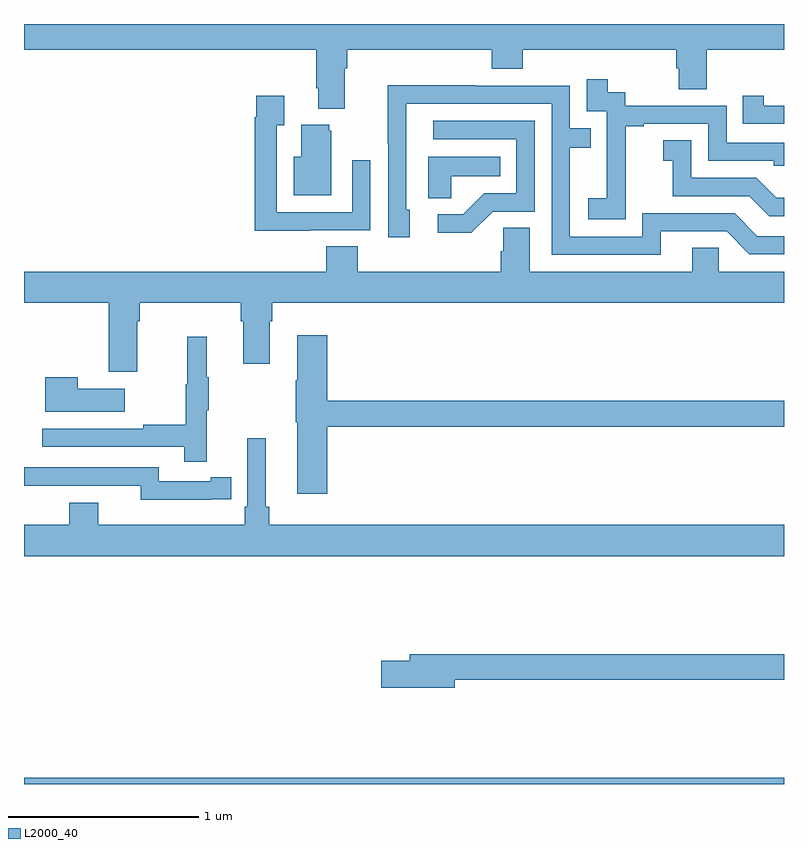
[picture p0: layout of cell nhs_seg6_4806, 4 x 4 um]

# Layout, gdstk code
import gdstk
lib = gdstk.Library(unit=1e-6, precision=1e-09)
def R(c, l, rs):  # rectangles x0, y0, x1, y1
    for r in rs: c.add(gdstk.rectangle(r[:2], r[2:], *l))
def P(c, l, *ps):  # polygons
    for p in ps: c.add(gdstk.Polygon(p, *l))
L2000_40 = (2000, 40)

nhs_seg6_4806 = lib.new_cell('nhs_seg6_4806')
R(nhs_seg6_4806, L2000_40, [(397,915.5,401,915.532)])
P(nhs_seg6_4806, L2000_40, [(398.689,919.268),(398.702,919.268),(398.702,919.364),(399.461,919.364),(399.461,919.265),(399.626,919.265),(399.626,919.364),(400.433,919.364),(400.433,919.266),(400.445,919.266),(400.445,919.156),(400.593,919.156),(400.593,919.364),(401,919.364),(401,919.5),(397,919.5),(397,919.364),(398.537,919.364),(398.537,919.162),(398.549,919.162),(398.549,919.055),(398.689,919.055)],
  [(400.167,918.679),(400.166,918.679),(400.166,918.963),(400.261,918.963),(400.261,918.975),(400.602,918.975),(400.602,918.78),(400.947,918.78),(400.947,918.753),(401,918.753),(401,918.876),(400.698,918.876),(400.698,919.071),(400.164,919.071),(400.164,919.14),(400.072,919.14),(400.072,919.21),(399.963,919.21),(399.963,919.041),(400.068,919.041),(400.068,918.812),(400.067,918.812),(400.067,918.583),(399.969,918.583),(399.969,918.473),(400.167,918.473)],
  [(400.351,918.408),(400.698,918.408),(400.818,918.288),(401,918.288),(401,918.384),(400.86,918.384),(400.74,918.504),(400.254,918.504),(400.254,918.381),(399.873,918.381),(399.873,918.85),(399.983,918.85),(399.983,918.951),(399.873,918.951),(399.873,919.176),(399.377,919.176),(399.377,919.178),(398.914,919.178),(398.914,918.871),(398.916,918.871),(398.916,918.378),(399.031,918.378),(399.031,918.522),(399.012,918.522),(399.012,919.08),(399.777,919.08),(399.777,918.285),(400.351,918.285)],
  [(398.507,918.414),(398.823,918.414),(398.823,918.784),(398.727,918.784),(398.727,918.51),(398.331,918.51),(398.331,918.967),(398.371,918.967),(398.371,919.123),(398.223,919.123),(398.223,919.01),(398.215,919.01),(398.215,918.413),(398.507,918.413)],
  [(401,919.071),(400.894,919.071),(400.894,919.123),(400.783,919.123),(400.783,918.975),(401,918.975)],
  [(399.468,918.513),(399.687,918.513),(399.687,918.99),(399.153,918.99),(399.153,918.894),(399.591,918.894),(399.591,918.609),(399.422,918.609),(399.311,918.498),(399.177,918.498),(399.177,918.401),(399.355,918.401)],
  [(398.617,918.939),(398.606,918.939),(398.606,918.97),(398.459,918.97),(398.459,918.802),(398.42,918.802),(398.42,918.599),(398.617,918.599)],
  [(401,918.586),(400.958,918.586),(400.854,918.69),(400.512,918.69),(400.512,918.889),(400.365,918.889),(400.365,918.779),(400.414,918.779),(400.414,918.594),(400.817,918.594),(400.922,918.489),(401,918.489)],
  [(399.249,918.698),(399.506,918.698),(399.506,918.802),(399.128,918.802),(399.128,918.583),(399.249,918.583)],
  [(397.597,917.936),(397.61,917.936),(397.61,918.032),(398.141,918.032),(398.141,917.936),(398.153,917.936),(398.153,917.712),(398.293,917.712),(398.293,917.936),(398.306,917.936),(398.306,918.032),(401,918.032),(401,918.196),(400.656,918.196),(400.656,918.323),(400.517,918.323),(400.517,918.196),(399.661,918.196),(399.661,918.428),(399.522,918.428),(399.522,918.305),(399.509,918.305),(399.509,918.196),(398.756,918.196),(398.756,918.329),(398.591,918.329),(398.591,918.196),(397,918.196),(397,918.032),(397.445,918.032),(397.445,917.67),(397.597,917.67)],
  [(398.597,917.38),(401,917.38),(401,917.516),(398.597,917.516),(398.597,917.863),(398.438,917.863),(398.438,917.624),(398.431,917.624),(398.431,917.403),(398.438,917.403),(398.438,917.028),(398.597,917.028)],
  [(397.961,917.467),(397.972,917.467),(397.972,917.641),(397.961,917.641),(397.961,917.854),(397.858,917.854),(397.858,917.604),(397.851,917.604),(397.851,917.39),(397.627,917.39),(397.627,917.37),(397.095,917.37),(397.095,917.274),(397.843,917.274),(397.843,917.196),(397.961,917.196)],
  [(397.531,917.581),(397.283,917.581),(397.283,917.641),(397.112,917.641),(397.112,917.459),(397.531,917.459)],
  [(401,916.864),(398.291,916.864),(398.291,916.96),(398.272,916.96),(398.272,917.32),(398.175,917.32),(398.175,916.96),(398.162,916.96),(398.162,916.864),(397.39,916.864),(397.39,916.981),(397.238,916.981),(397.238,916.864),(397,916.864),(397,916.7),(401,916.7)],
  [(397.982,916.998),(398.09,916.998),(398.09,917.114),(397.982,917.114),(397.982,917.094),(397.71,917.094),(397.71,917.166),(397,917.166),(397,917.069),(397.154,917.069),(397.154,917.07),(397.614,917.07),(397.614,916.997),(397.982,916.997)],
  [(399.268,916.048),(401,916.048),(401,916.184),(399.029,916.184),(399.029,916.148),(398.88,916.148),(398.88,916.006),(399.268,916.006)])

lib.write_gds('nhs_seg6_4806.gds')
